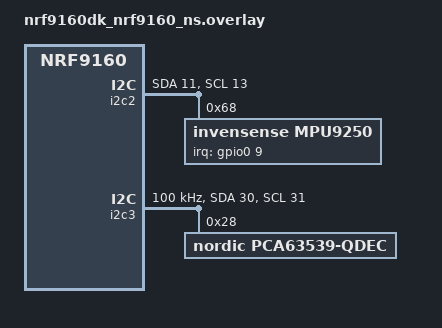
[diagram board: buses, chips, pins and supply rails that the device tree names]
/*
 * Copyright (c) 2019 Nordic Semiconductor ASA
 *
 * SPDX-License-Identifier: Apache-2.0
 */


&i2c2 {
	status = "okay";
	compatible = "nordic,nrf-twim";
	sda-pin = <11>;
	scl-pin = <13>;
	mpu9250: mpu9250@68 {
		compatible = "invensense,mpu9250";
		reg = <0x68>;
		label = "MPU9250";
		gyro-sr-div = <200>;
		gyro-dlpf = <92>;
		gyro-fs = <2000>;
		accel-fs = <2>;
		accel-dlpf = "21.2";
		irq-gpios = <&gpio0 9 GPIO_ACTIVE_HIGH>;
	};
};

&i2c3 {
    compatible = "nordic,nrf-twim";
    status = "okay";
    sda-pin = <30>;
    scl-pin = <31>;
    clock-frequency = < I2C_BITRATE_STANDARD >;

    shield_qdec: pca63539-qdec@28 {
        compatible = "nordic,pca63539-qdec";
        status = "okay";
        label = "PCA63539-QDEC";
        reg = <0x28>;
    };
};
